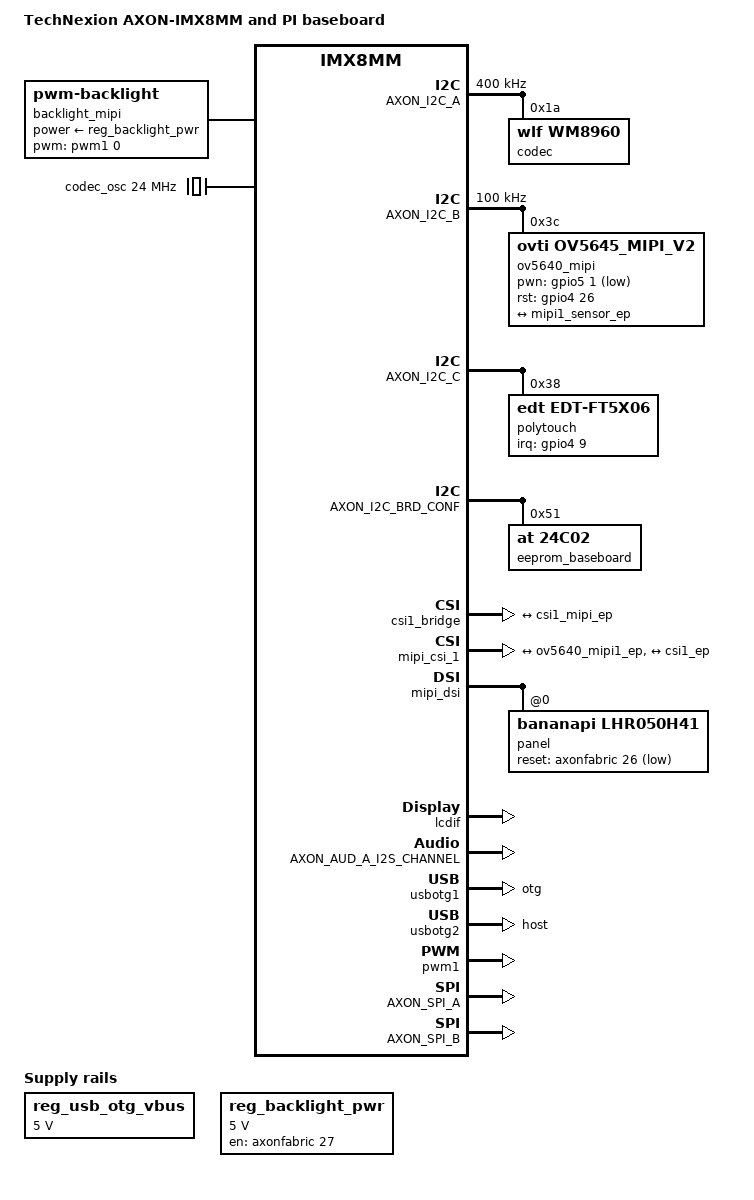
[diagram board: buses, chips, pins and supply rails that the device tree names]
/*
 * Copyright 2019 Technexion Ltd.
 * Copyright 2018 NXP
 *
 * Author: Richard Hu <richard.hu@technexion.com>
 *         John Weber <john.weber@technexion.com>
 *
 * This program is free software; you can redistribute it and/or
 * modify it under the terms of the GNU General Public License
 * as published by the Free Software Foundation; either version 2
 * of the License, or (at your option) any later version.
 *
 * This program is distributed in the hope that it will be useful,
 * but WITHOUT ANY WARRANTY; without even the implied warranty of
 * MERCHANTABILITY or FITNESS FOR A PARTICULAR PURPOSE.  See the
 * GNU General Public License for more details.
 */

/dts-v1/;

#include "imx8mm-axon.dtsi"

/ {
	model = "TechNexion AXON-IMX8MM and PI baseboard";
	compatible = "fsl,imx8mm-axon", "fsl,imx8mm";

	regulators {

		reg_usb_otg_vbus: usb_otg_vbus {
			pinctrl-names = "default";
			pinctrl-0 = <&pinctrl_otg_vbus>;
			compatible = "regulator-fixed";
			regulator-name = "usb_otg_vbus";
			regulator-min-microvolt = <5000000>;
			regulator-max-microvolt = <5000000>;
			gpio = <AXON_EXT_GPIO_X1_P66 GPIO_ACTIVE_LOW>;
			enable-active-low;
		};

		reg_backlight_pwr: regulator_blpwr {
			pinctrl-names = "default";
			compatible = "regulator-fixed";
			regulator-name = "backlight_pwr";
			regulator-min-microvolt = <5000000>;
			regulator-max-microvolt = <5000000>;
			gpio = <&axonfabric 27 GPIO_ACTIVE_HIGH>;
			enable-active-high;
		};
	};

	backlight_mipi {
		compatible = "pwm-backlight";
		pwms = <&pwm1 0 50000 0>;
		brightness-levels = <0 36 72 108 144 180 216 255>;
		default-brightness-level = <7>;
		power-supply = <&reg_backlight_pwr>;
		status = "okay";
	};

	sound_wm8960: sound-wm8960 {
		compatible = "fsl,imx-audio-wm8960";
		model = "wm8960-audio";
		cpu-dai = <&sai5>;
		codec-master;
		audio-codec = <&codec>;
		audio-routing =
			"Headphone Jack", "HP_L",
			"Headphone Jack", "HP_R",
			"Ext Spk", "SPK_LP",
			"Ext Spk", "SPK_LN",
			"Ext Spk", "SPK_RP",
			"Ext Spk", "SPK_RN",
			"LINPUT1", "Main MIC",
			"RINPUT1", "Main MIC",
			"Main MIC", "MICB";
		/* JD2: hp detect high for headphone*/
		hp-det = <2 0>;
	};

	clocks {
		codec_osc: aud_mclk {
			compatible = "fixed-clock";
			#clock-cells = <0>;
			clock-frequency = <24000000>;
			clock-output-names = "wm8960-mclk";
		};
	};
	};

&iomuxc {
	imx8mm-axon {

		pinctrl_otg_vbus: otgvbusgrp {
			fsl,pins = <
				MX8MM_IOMUXC_SAI1_TXD1_GPIO4_IO13		0x19   /* USB OTG VBUS Enable */
			>;
		};

		pinctrl_backlight_pwr: backlight_pwrgrp {
			fsl,pins = <
				MX8MM_IOMUXC_SAI1_MCLK_GPIO4_IO20		0x19   /* GPIO_SPARE_1 / SAI1_MCLK */
			>;
		};

		pinctrl_dsi_pwm: dsi_pwm {
			fsl,pins = <
				MX8MM_IOMUXC_SPDIF_EXT_CLK_PWM1_OUT		0x16	/* DSI PWM */
			>;
		};

		pinctrl_tusb320_irq: tusb320_irqgrp {
			fsl,pins = <
				MX8MM_IOMUXC_SAI3_RXC_GPIO4_IO29		0x41    /* UART_B_CTS */
			>;
		};

		pinctrl_csi_pwn: csi_pwn_grp {
			fsl,pins = <
				MX8MM_IOMUXC_SAI3_TXD_GPIO5_IO1		       0x19  /* GPIO_X3_P67 */
			>;
		};

		pinctrl_csi_rst: csi_rst_grp {
			fsl,pins = <
				MX8MM_IOMUXC_SAI2_TXD0_GPIO4_IO26		    0x19  /* GPIO_X3_P65 */
				MX8MM_IOMUXC_GPIO1_IO14_CCMSRCGPCMIX_CLKO1	0x59  /* GPIO_X3_P69 */
			>;
		};

		pinctrl_mipi_dsi_rst: mipi_dsi_rst {
			fsl,pins = <
				MX8MM_IOMUXC_SPDIF_RX_GPIO5_IO4	    0x16   /* PWM2 / DSI RST */
			>;
		};

		pinctrl_ft5336_touch_irq: ft5336_irqgrp {
			fsl,pins = <
				MX8MM_IOMUXC_SAI1_RXD7_GPIO4_IO9	0x19   /* GPIO_X2_P20, Touch INT */
			>;
		};

	};
};

&pinmux_axonfabric {

	pinctrl_af_user_led: pcuserled {
		pins = "F_GPIO_X1_P70";
		function = "gpio";
	};

	pinctrl_af_user_pb: pcuserpb {
		pins = "F_GPIO_X1_P72"; function = "gpio"; drive-open-drain;
	};

	pinctrl_af_otg_vbus_en: pcotgvbusen {
		pins = "F_GPIO_X1_P66"; function = "passthru_out"; drive-push-pull;
	};

	pinctrl_af_tusb320_irq: pctusb320irq {
		pins = "F_UART_B_CTS"; function = "passthru_in"; drive-push-pull;
	};

	pinctrl_af_csi_ctrl: pccsictrl {
		pins = "F_GPIO_X3_P65", "F_GPIO_X3_P67";
		function = "passthru_out";
		drive-push-pull;
	};

	pinctrl_af_csi_clk: pccsiclk {
		pins = "F_GPIO_X3_P69"; function = "passthru_out"; drive-push-pull;
	};

	pinctrl_af_ft5336_irq: pcft5336irq {
		pins = "F_GPIO_X2_P20"; function = "passthru_in"; drive-push-pull;
	};

	pinctrl_af_dsi_irq: pcdsiirq{
		pins = "F_GPIO_X2_P18"; function = "passthru_in"; drive-push-pull;
	};

	pinctrl_af_disp_gpio: pcdispgpio {
		pins = "F_DISP_DAT00", "F_DISP_DAT01", "F_DISP_DAT02", "F_DISP_DAT03",
		"F_DISP_DAT04", "F_DISP_DAT05", "F_DISP_DAT06", "F_DISP_DAT07",
		"F_DISP_DAT08", "F_DISP_DAT09", "F_DISP_DAT10", "F_DISP_DAT11",
		"F_DISP_DAT12", "F_DISP_DAT13", "F_DISP_DAT14", "F_DISP_DAT15",
		"F_DISP_DAT16", "F_DISP_DAT17", "F_DISP_DAT18", "F_DISP_DAT19",
		"F_DISP_DAT20", "F_DISP_DAT21", "F_DISP_DAT22", "F_DISP_DAT23",
		"F_DISP_HSYNC", "F_DISP_VSYNC", "F_DISP_CLK", "F_DISP_BKLEN",
		"F_DISP_DRDY";
		function = "gpio"; drive-push-pull;
	};

	// PWM
	pinctrl_af_pwm_x1_x2: pcafpwmx1x2 {
		pins = "F_PWM_X1_P39", "F_PWM_X2_P79";
		function = "passthru_out"; drive-push-pull;
	};

	// Audio A
	pinctrl_af_aud_a_out: pcafauda_out {
		pins = "F_AUD_A_TXD"; function = "passthru_out"; drive-push-pull;
	};

	pinctrl_af_aud_a_in: pcafauda_in {
		pins = "F_AUD_A_RXD", "F_AUD_A_TXFS", "F_AUD_A_TXCLK";
		function = "passthru_in"; drive-push-pull;
	};

	// Audio B - use as GPIO
	pinctrl_af_aud_b_gpio: pcafaudb_gpio {
		pins = "F_AUD_B_TXD", "F_AUD_B_RXD", "F_AUD_B_TXFS", "F_AUD_B_TXCLK",
		"F_AUD_B_RXFS", "F_AUD_B_RXCLK", "F_AUD_B_MCLK" ;
		function = "gpio"; drive-push-pull;
	};

	// CAN_A/B - use as GPIO
	pinctrl_af_can_gpio: pcafcan_gpio {
		pins = "F_CAN_A_TX", "F_CAN_A_RX", "F_CAN_B_TX", "F_CAN_B_RX";
		function = "gpio"; drive-push-pull;
	};

	// UART_A RTS and CTS - use as GPIO
	pinctrl_af_uart_a_rtscts: pcafuartartscts {
		pins = "F_UART_A_RTS", "F_UART_A_CTS"; function="gpio";
		drive-push-pull;
	};

	// UART_B_RTS - use as RTC DS1337+ interrupt
	pinctrl_af_ds1337_rtc_irq: pcafds1337rtcirq {
		pins = "F_UART_B_RTS";
		function="passthru_in";
		drive-push-pull;
	};
};

&AXON_I2C_A {  // I2C_A
	clock-frequency = <400000>;
	status = "okay";

	codec: wm8960@1a {
		compatible = "wlf,wm8960";
		reg = <0x1a>;
		#sound-dai-cells = <0>;
		clocks = <&codec_osc>;  /* Note:  AXON-PI the clock is external osc */
		clock-names = "mclk";
		wlf,shared-lrclk;
		wlf,fixed-mclk;
		status = "okay";
	};

	rtc_ds1337: ds1337@68 {
		compatible = "dallas,ds1337";
		reg = <0x68>;
		wakeup-source;
		interrupt-parent = <&gpio4>;
		interrupts = <30 0>;
		status = "disabled";
	};

	typec_tusb320:tusb320@47 {
		compatible = "ti,tusb320";
		pinctrl-names = "default";
		pinctrl-0 = <&pinctrl_tusb320_irq>;
		reg = <0x47>;
		vbus-supply = <&reg_usb_otg_vbus>;
		tusb320,int-gpio = <&gpio4 29 GPIO_ACTIVE_LOW>;
		tusb320,select-mode = <0>;
		tusb320,dfp-power = <0>;
		status = "disabled";
	};
};

&AXON_I2C_B {  // I2C_B
	status = "okay";
	clock-frequency = <100000>;

	ov5640_mipi: ov5640_mipi@3c {
		compatible = "ovti,ov5645_mipi_v2";
		reg = <0x3c>;
		status = "okay";
		pinctrl-names = "default";
		pinctrl-0 = <&pinctrl_csi_pwn>, <&pinctrl_csi_rst>;
		clocks = <&clk IMX8MM_CLK_CLKO1>;
		clock-names = "csi_mclk";
		assigned-clocks = <&clk IMX8MM_CLK_CLKO1>;
		assigned-clock-parents = <&clk IMX8MM_CLK_24M>;
		assigned-clock-rates = <0>, <24000000>;
		csi_id = <0>;
		pwn-gpios = <&gpio5 1 GPIO_ACTIVE_LOW>;
		rst-gpios = <&gpio4 26 GPIO_ACTIVE_HIGH>;
		mclk = <24000000>;
		mclk_source = <0>;
		port {
			ov5640_mipi1_ep: endpoint {
				remote-endpoint = <&mipi1_sensor_ep>;
			};
		};
	};
};

&AXON_I2C_C {  // I2C_C
	status = "okay";

	polytouch: edt-ft5x06@38 {
		compatible = "edt,edt-ft5x06";
		reg = <0x38>;
		pinctrl-names = "default";
		interrupt-parent = <&gpio4>;
		interrupts = <9 IRQ_TYPE_EDGE_FALLING>;
		touchscreen-size-x = <720>;
		touchscreen-size-y = <1280>;
		status="okay";
	};
};

&AXON_I2C_BRD_CONF {

	eeprom_baseboard: eeprom@51 {
		compatible = "at,24c02";
		reg = <0x51>;
	};
};

&csi1_bridge {
	fsl,mipi-mode;
	status = "okay";
	port {
		csi1_ep: endpoint {
			remote-endpoint = <&csi1_mipi_ep>;
		};
	};
};

&mipi_csi_1 {
	#address-cells = <1>;
	#size-cells = <0>;
	status = "okay";
	port {
		mipi1_sensor_ep: endpoint@1 {
			remote-endpoint = <&ov5640_mipi1_ep>;
			data-lanes = <2>;
			csis-hs-settle = <13>;
			csis-clk-settle = <2>;
			csis-wclk;
		};

		csi1_mipi_ep: endpoint@2 {
			remote-endpoint = <&csi1_ep>;
		};
	};
};

&mipi_dsi {
	status = "okay";

	panel@0 {
		compatible = "bananapi,lhr050h41", "ilitek,ili9881c";
		reset-gpio = <&axonfabric 26 GPIO_ACTIVE_LOW>;
		reg = <0>;
		timing-mode = <0>;
		video-mode = <2>;	/* 0: burst mode
					 * 1: non-burst mode with sync event
					 * 2: non-burst mode with sync pulse
					 */
		status = "okay";
	};
};

&lcdif {
	status = "okay";
};

&AXON_AUD_A_I2S_CHANNEL {  // AUD_A
	status = "okay";
};

&pcie0{
	status = "disabled";
};

&usbotg1 {
	dr_mode = "otg";
	extcon = <0>, <&typec_tusb320>;
	status = "okay";
};

&usbotg2 {
	dr_mode = "host";
	status = "okay";
};

&pwm1 {
	pinctrl-names = "default";
	pinctrl-0 = <&pinctrl_dsi_pwm>;
	status = "okay";
};

&AXON_SPI_A {
	status = "okay";
};

&AXON_SPI_B {
	status = "okay";
};
